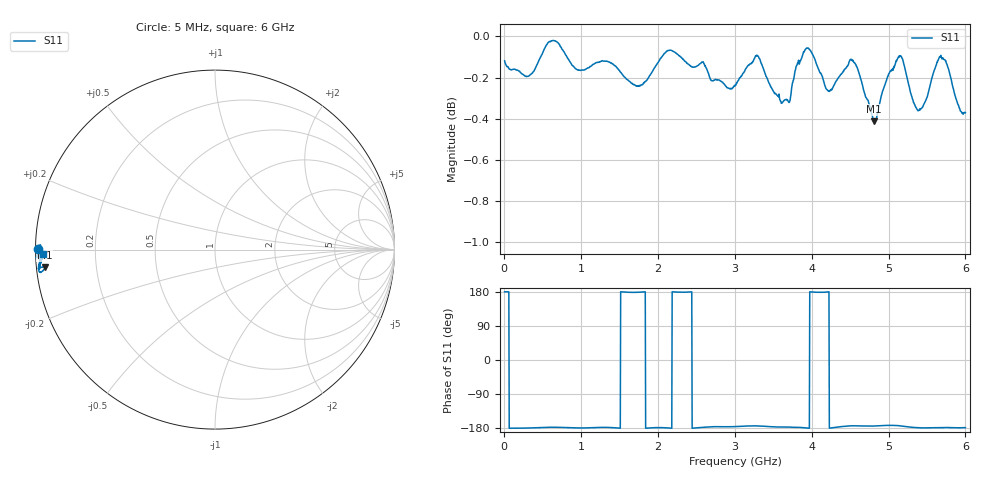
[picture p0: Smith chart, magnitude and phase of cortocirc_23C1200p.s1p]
# Hz S RI R 50.000000
! Metas.Vna.Tools, 3.0.9519.15400
! Metas.Vna.Data, 3.0.9519.15360
! Created: UTC 2026.10.23 21:43:32
! FREQ  re:S1,1  im:S1,1
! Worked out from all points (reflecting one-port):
!   1200 points, 5 MHz to 6 GHz, reference 50 ohm
!   lowest |S11| = -0.4 dB at 4.815 GHz (marker M1), VSWR 42.00, Z = 1.19 - j2.6 ohm
!   phase of S11 starts at 180 deg and turns +2 deg over the sweep
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5000000  -0.9864 0.000716
2.8e8  -0.978 -0.0057
5.85e8  -0.9962 -0.0432
7.55e8  -0.992 -0.0362
1e9  -0.9812 -0.011
1.32e9  -0.9854 -0.0382
1.505e9  -0.9806 -0.00227
1.7e9  -0.9729 0.0257
2.015e9  -0.986 -0.029
2.255e9  -0.9899 0.0147
2.385e9  -0.9848 0.0145
2.72e9  -0.973 -0.069
3.005e9  -0.9701 -0.0713
3.275e9  -0.9832 -0.1061
3.53e9  -0.967 -0.0555
3.755e9  -0.9736 -0.0432
3.84e9  -0.9839 -0.0374
3.94e9  -0.9934 -0.00989
4.05e9  -0.986 0.0198
4.145e9  -0.9764 0.023
4.505e9  -0.9811 -0.109
4.815e9  -0.9483 -0.099
4.96e9  -0.9663 -0.124
5.085e9  -0.9762 -0.1252
5.255e9  -0.9727 -0.0583
5.44e9  -0.961 -0.0154
5.685e9  -0.9878 -0.0321
6e9  -0.9578 -0.0261
